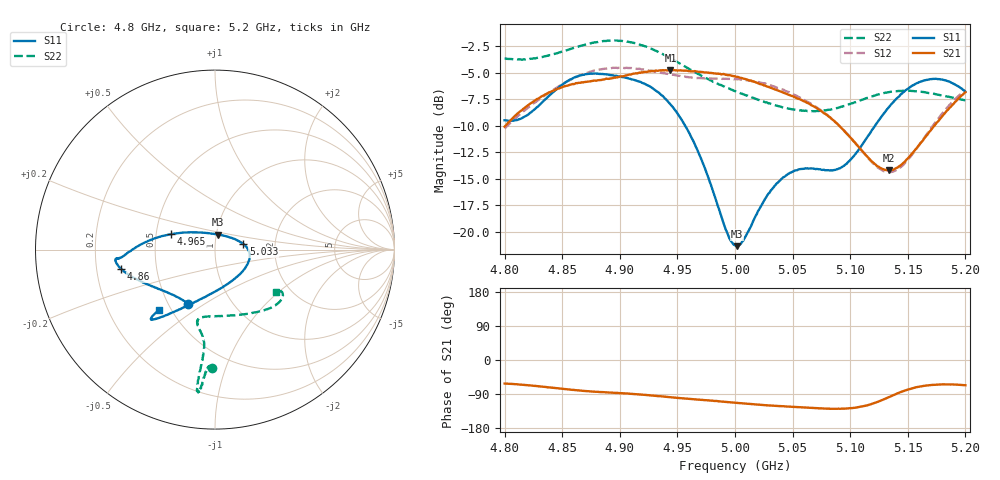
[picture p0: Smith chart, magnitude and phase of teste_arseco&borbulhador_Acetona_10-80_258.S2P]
! Network Analyzer HP8722D
! Hewlett-Packard
! Data name: Linha & Wilkinson
! Saver's name: Rodrigo Anjos
! Comments: Teste da utilização de aquisição
! continua pelo VNA HP8722D
! Time and date: 17/4/2025 16:30
!  Frequency  S11  S21  S12  S22
# HZ  S  MA R 50
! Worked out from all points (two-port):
!   401 points, 4.8 GHz to 5.2 GHz, reference 50 ohm
!   highest |S21| = -4.73 dB at 4.944 GHz (marker M1); lowest = -14.2 dB at 5.134 GHz (marker M2)
!   |S21| within 3 dB of the highest: 4.825 GHz to 5.061 GHz (236.5 MHz wide, 4.78 % of centre); 5.191253 GHz to end of sweep
!   lowest |S11| = -21.4 dB at 5.002 GHz (marker M3), VSWR 1.19, Z = 51.1 + j8.6 ohm
!   |S11| at or under -10 dB: 4.957 GHz to 5.122 GHz (164.6 MHz wide, 3.27 % of centre)
!   |S22| runs from -8.6 to -1.9 dB; largest |S21 - S12| = 0.87
!   S11 on the Smith chart (normalised r, x): 4.8 GHz: 0.63, -0.43; 4.86 GHz: 0.31, -0.09; 4.965 GHz: 0.60, +0.11; 5.033 GHz: 1.37, +0.09; 5.2 GHz: 0.43, -0.36
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4.8e9  0.3358 -116.5  0.3134 -62.2  0.307 -176.3  0.6573 -91.3
4.819e9  0.3535 -136.8  0.3905 -66.3  0.3795 -176.0  0.653 -93.0
4.86e9  0.5335 -168.3  0.4972 -78.9  0.53 -179.2  0.7374 -95.2
4.867e9  0.5488 -170.8  0.5076 -81.2  0.5511 179.5  0.7573 -95.4
4.899e9  0.5406 -174.9  0.5379 -87.3  0.594 173.4  0.7961 -97.0
4.934e9  0.4525 179.4  0.577 -95.6  0.5676 170.2  0.7025 -97.2
4.944e9  0.3992 174.8  0.5801 -98.3  0.5519 170.3  0.6592 -96.9
4.965e9  0.2596 160.6  0.5734 -103.8  0.5331 172.2  0.5675 -96.3
4.993e9  0.09964 112.5  0.5498 -110.9  0.5267 174.5  0.4789 -98.7
5e9  0.08629 86.0  0.5413 -112.9  0.5267 174.4  0.4613 -100.0
5.002e9  0.0854 78.0  0.5385 -113.4  0.5241 174.4  0.4569 -100.7
5.007e9  0.09047 59.3  0.5291 -114.6  0.5215 174.4  0.4457 -101.6
5.033e9  0.1609 11.2  0.474 -120.6  0.4861 173.0  0.3981 -103.5
5.05e9  0.192 -4.8  0.4368 -123.6  0.4457 172.4  0.378 -98.3
5.067e9  0.1989 -23.3  0.394 -126.3  0.3998 172.3  0.371 -88.7
5.095e9  0.2055 -71.8  0.2979 -128.3  0.2996 174.5  0.3921 -66.8
5.121e9  0.3128 -111.1  0.2095 -113.9  0.2076 -168.7  0.4393 -49.5
5.134e9  0.3897 -121.0  0.1947 -97.4  0.1909 -150.5  0.4563 -43.2
5.147e9  0.459 -127.0  0.2128 -81.3  0.2094 -131.6  0.4627 -38.4
5.168e9  0.5233 -131.9  0.2924 -66.7  0.2965 -113.2  0.4513 -33.3
5.184e9  0.5151 -133.1  0.3733 -64.3  0.3845 -108.7  0.4351 -32.3
5.2e9  0.4578 -133.1  0.4552 -66.7  0.4677 -108.7  0.4168 -34.9
